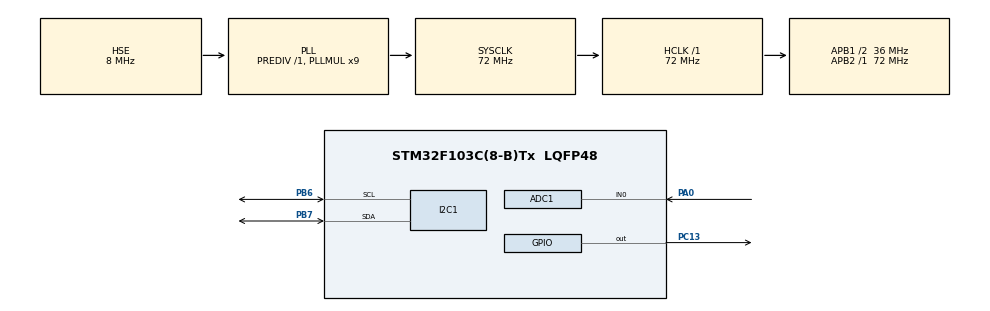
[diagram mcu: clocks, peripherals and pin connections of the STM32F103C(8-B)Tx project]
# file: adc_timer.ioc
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ADC1.Channel-0\#ChannelRegularConversion=ADC_CHANNEL_0
ADC1.ContinuousConvMode=ENABLE
ADC1.NbrOfConversionFlag=1
ADC1.Rank-0\#ChannelRegularConversion=1
ADC1.SamplingTime-0\#ChannelRegularConversion=ADC_SAMPLETIME_1CYCLE_5
ADC1.master=1
Mcu.Family=STM32F1
Mcu.Name=STM32F103C(8-B)Tx
Mcu.Package=LQFP48
NVIC.PriorityGroup=NVIC_PRIORITYGROUP_4
PA0-WKUP.Signal=ADCx_IN0
PA13.Mode=Serial_Wire
PA13.Signal=SYS_JTMS-SWDIO
PA14.Mode=Serial_Wire
PA14.Signal=SYS_JTCK-SWCLK
PB6.Mode=I2C
PB6.Signal=I2C1_SCL
PB7.Mode=I2C
PB7.Signal=I2C1_SDA
PC13-TAMPER-RTC.Signal=GPIO_Output
PD0-OSC_IN.Mode=HSE-External-Oscillator
PD0-OSC_IN.Signal=RCC_OSC_IN
PD1-OSC_OUT.Mode=HSE-External-Oscillator
PD1-OSC_OUT.Signal=RCC_OSC_OUT
ProjectManager.HeapSize=0x200
ProjectManager.StackSize=0x400
ProjectManager.TargetToolchain=STM32CubeIDE
RCC.ADCPresc=RCC_ADCPCLK2_DIV6
RCC.AHBFreq_Value=72000000
RCC.APB1CLKDivider=RCC_HCLK_DIV2
RCC.APB1Freq_Value=36000000
RCC.APB1TimFreq_Value=72000000
RCC.APB2Freq_Value=72000000
RCC.APB2TimFreq_Value=72000000
RCC.HCLKFreq_Value=72000000
RCC.PLLMUL=RCC_PLL_MUL9
RCC.PLLSourceVirtual=RCC_PLLSOURCE_HSE
RCC.SYSCLKFreq_VALUE=72000000
RCC.SYSCLKSource=RCC_SYSCLKSOURCE_PLLCLK
RCC.USBFreq_Value=72000000
SH.ADCx_IN0.0=ADC1_IN0,IN0
TIM2.Period=3999
TIM2.Prescaler=35999
VP_TIM2_VS_ClockSourceINT.Mode=Internal
board=custom

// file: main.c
/* USER CODE BEGIN Header */
/**
  ******************************************************************************
  * @file           : main.c
  * @brief          : Main program body
  ******************************************************************************
  * @attention
  *
  * Copyright (c) 2025 STMicroelectronics.
  * All rights reserved.
  *
  * This software is licensed under terms that can be found in the LICENSE file
  * in the root directory of this software component.
  * If no LICENSE file comes with this software, it is provided AS-IS.
  *
  ******************************************************************************
  */
/* USER CODE END Header */
#include "main.h"

/* USER CODE BEGIN Includes */
uint16_t d;
#include "fonts.h"
#include "ssd1306.h"

/* USER CODE END Includes */

ADC_HandleTypeDef hadc1;

I2C_HandleTypeDef hi2c1;

TIM_HandleTypeDef htim2;

void SystemClock_Config(void);
static void MX_GPIO_Init(void);
static void MX_ADC1_Init(void);
static void MX_TIM2_Init(void);
static void MX_I2C1_Init(void);

int main(void)
{

  /* MCU Configuration--------------------------------------------------------*/

  /* Reset of all peripherals, Initializes the Flash interface and the Systick. */
  HAL_Init();

  /* Configure the system clock */
  SystemClock_Config();

  /* Initialize all configured peripherals */
  MX_GPIO_Init();
  MX_ADC1_Init();
  MX_TIM2_Init();
  MX_I2C1_Init();
  /* USER CODE BEGIN 2 */
  HAL_ADCEx_Calibration_Start(&hadc1);
  HAL_TIM_Base_Start(&htim2);

  SSD1306_Init();
      char snum[5];

      SSD1306_GotoXY (0,0);
      SSD1306_Puts ("Output", &Font_11x18, 1);
      SSD1306_GotoXY (0, 30);
      SSD1306_Puts ("Value", &Font_11x18, 1);
      SSD1306_UpdateScreen();
      HAL_Delay (1000);
      SSD1306_Clear();

  /* USER CODE END 2 */

  /* Infinite loop */
  while (1)
  {

    /* USER CODE BEGIN 3 */
	  TIM2 -> SR=0;
	  HAL_ADC_Start(&hadc1);
	  HAL_ADC_PollForConversion(&hadc1, 10);
	  while((TIM2 -> SR &1)==0);
	  HAL_GPIO_TogglePin(GPIOC, GPIO_PIN_13);
	  d = HAL_ADC_GetValue(&hadc1);
	  	  		itoa(d, snum, 10);
	  	  		SSD1306_GotoXY (0, 30);
	  	  		SSD1306_Puts (snum, &Font_16x26, 1);
	  	  		SSD1306_UpdateScreen();
	  	  		HAL_Delay (500);

  }
  /* USER CODE END 3 */
}

void SystemClock_Config(void)
{
  RCC_OscInitTypeDef RCC_OscInitStruct = {0};
  RCC_ClkInitTypeDef RCC_ClkInitStruct = {0};
  RCC_PeriphCLKInitTypeDef PeriphClkInit = {0};

  /** Initializes the RCC Oscillators according to the specified parameters
  * in the RCC_OscInitTypeDef structure.
  */
  RCC_OscInitStruct.OscillatorType = RCC_OSCILLATORTYPE_HSE;
  RCC_OscInitStruct.HSEState = RCC_HSE_ON;
  RCC_OscInitStruct.HSEPredivValue = RCC_HSE_PREDIV_DIV1;
  RCC_OscInitStruct.HSIState = RCC_HSI_ON;
  RCC_OscInitStruct.PLL.PLLState = RCC_PLL_ON;
  RCC_OscInitStruct.PLL.PLLSource = RCC_PLLSOURCE_HSE;
  RCC_OscInitStruct.PLL.PLLMUL = RCC_PLL_MUL9;
  if (HAL_RCC_OscConfig(&RCC_OscInitStruct) != HAL_OK)
  {
    Error_Handler();
  }

  /** Initializes the CPU, AHB and APB buses clocks
  */
  RCC_ClkInitStruct.ClockType = RCC_CLOCKTYPE_HCLK|RCC_CLOCKTYPE_SYSCLK
                              |RCC_CLOCKTYPE_PCLK1|RCC_CLOCKTYPE_PCLK2;
  RCC_ClkInitStruct.SYSCLKSource = RCC_SYSCLKSOURCE_PLLCLK;
  RCC_ClkInitStruct.AHBCLKDivider = RCC_SYSCLK_DIV1;
  RCC_ClkInitStruct.APB1CLKDivider = RCC_HCLK_DIV2;
  RCC_ClkInitStruct.APB2CLKDivider = RCC_HCLK_DIV1;

  if (HAL_RCC_ClockConfig(&RCC_ClkInitStruct, FLASH_LATENCY_2) != HAL_OK)
  {
    Error_Handler();
  }
  PeriphClkInit.PeriphClockSelection = RCC_PERIPHCLK_ADC;
  PeriphClkInit.AdcClockSelection = RCC_ADCPCLK2_DIV6;
  if (HAL_RCCEx_PeriphCLKConfig(&PeriphClkInit) != HAL_OK)
  {
    Error_Handler();
  }
}

static void MX_ADC1_Init(void)
{

  ADC_ChannelConfTypeDef sConfig = {0};

  /** Common config
  */
  hadc1.Instance = ADC1;
  hadc1.Init.ScanConvMode = ADC_SCAN_DISABLE;
  hadc1.Init.ContinuousConvMode = ENABLE;
  hadc1.Init.DiscontinuousConvMode = DISABLE;
  hadc1.Init.ExternalTrigConv = ADC_SOFTWARE_START;
  hadc1.Init.DataAlign = ADC_DATAALIGN_RIGHT;
  hadc1.Init.NbrOfConversion = 1;
  if (HAL_ADC_Init(&hadc1) != HAL_OK)
  {
    Error_Handler();
  }

  /** Configure Regular Channel
  */
  sConfig.Channel = ADC_CHANNEL_0;
  sConfig.Rank = ADC_REGULAR_RANK_1;
  sConfig.SamplingTime = ADC_SAMPLETIME_1CYCLE_5;
  if (HAL_ADC_ConfigChannel(&hadc1, &sConfig) != HAL_OK)
  {
    Error_Handler();
  }

}

static void MX_I2C1_Init(void)
{

  hi2c1.Instance = I2C1;
  hi2c1.Init.ClockSpeed = 100000;
  hi2c1.Init.DutyCycle = I2C_DUTYCYCLE_2;
  hi2c1.Init.OwnAddress1 = 0;
  hi2c1.Init.AddressingMode = I2C_ADDRESSINGMODE_7BIT;
  hi2c1.Init.DualAddressMode = I2C_DUALADDRESS_DISABLE;
  hi2c1.Init.OwnAddress2 = 0;
  hi2c1.Init.GeneralCallMode = I2C_GENERALCALL_DISABLE;
  hi2c1.Init.NoStretchMode = I2C_NOSTRETCH_DISABLE;
  if (HAL_I2C_Init(&hi2c1) != HAL_OK)
  {
    Error_Handler();
  }

}

static void MX_TIM2_Init(void)
{

  TIM_ClockConfigTypeDef sClockSourceConfig = {0};
  TIM_MasterConfigTypeDef sMasterConfig = {0};

  htim2.Instance = TIM2;
  htim2.Init.Prescaler = 35999;
  htim2.Init.CounterMode = TIM_COUNTERMODE_UP;
  htim2.Init.Period = 3999;
  htim2.Init.ClockDivision = TIM_CLOCKDIVISION_DIV1;
  htim2.Init.AutoReloadPreload = TIM_AUTORELOAD_PRELOAD_DISABLE;
  if (HAL_TIM_Base_Init(&htim2) != HAL_OK)
  {
    Error_Handler();
  }
  sClockSourceConfig.ClockSource = TIM_CLOCKSOURCE_INTERNAL;
  if (HAL_TIM_ConfigClockSource(&htim2, &sClockSourceConfig) != HAL_OK)
  {
    Error_Handler();
  }
  sMasterConfig.MasterOutputTrigger = TIM_TRGO_RESET;
  sMasterConfig.MasterSlaveMode = TIM_MASTERSLAVEMODE_DISABLE;
  if (HAL_TIMEx_MasterConfigSynchronization(&htim2, &sMasterConfig) != HAL_OK)
  {
    Error_Handler();
  }

}

static void MX_GPIO_Init(void)
{
  GPIO_InitTypeDef GPIO_InitStruct = {0};

  /* GPIO Ports Clock Enable */
  __HAL_RCC_GPIOC_CLK_ENABLE();
  __HAL_RCC_GPIOD_CLK_ENABLE();
  __HAL_RCC_GPIOA_CLK_ENABLE();
  __HAL_RCC_GPIOB_CLK_ENABLE();

  /*Configure GPIO pin Output Level */
  HAL_GPIO_WritePin(GPIOC, GPIO_PIN_13, GPIO_PIN_RESET);

  /*Configure GPIO pin : PC13 */
  GPIO_InitStruct.Pin = GPIO_PIN_13;
  GPIO_InitStruct.Mode = GPIO_MODE_OUTPUT_PP;
  GPIO_InitStruct.Pull = GPIO_NOPULL;
  GPIO_InitStruct.Speed = GPIO_SPEED_FREQ_LOW;
  HAL_GPIO_Init(GPIOC, &GPIO_InitStruct);

}

void Error_Handler(void)
{
  __disable_irq();
  while (1)
  {
  }
}
